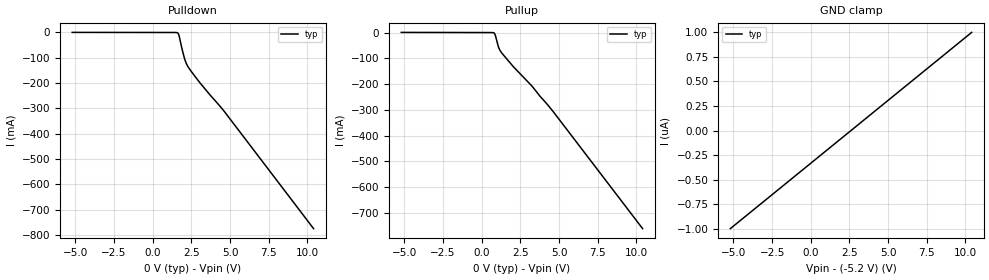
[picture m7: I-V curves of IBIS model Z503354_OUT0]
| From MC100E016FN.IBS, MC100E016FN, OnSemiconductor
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| (C) COPYRIGHT 1993-2000
| MENTOR GRAPHICS CORPORATION
| ICX STANDARD LIBRARY, ICX PROJECT MODELING,
| ICX CUSTOM MODELING, ICX VENDOR MODEL
| ALL RIGHTS RESERVED.
| THE FOLLOWING ARE TRADEMARKS OR SERVICE MARKS OF
| MENTOR GRAPHICS CORPORATION:ICX (R), ICX STANDARD
| LIBRARY(R), ICX PROJECT MODELING(R), ICX CUSTOM
| MODELING(R), qualityIBIS(TM), MODELVIEWER(TM),
| AND MODELEDITOR(TM)
| ALL COPIES OF SOFTWARE, INCLUDING BUT NOT LIMITED TO
| ANY MODIFICATIONS, ENHANCEMENTS OR DERIVATIVE WORKS,
| MUST CONTAIN ALL MENTOR GRAPHICS CORPORATION'S
| NOTICES AND LEGENDS, INCLUDING THOSE EMBEDDED IN
| SOFTWARE AND THOSE AFFIXED TO SOFTWARE MEDIUM
| AND CONTAINER, AS RECEIVED FROM MENTOR GRAPHICS
| CORPORATION.
| Model Application Version 1.89 2/18/99.
[Model] Z503354_OUT0
Model_type Output_ECL
Vref=-2.000V
Rref=50.00ohms
Cref=0.000F
Vmeas=-1.320V
C_comp 8.000pF NA NA
| variable typ   min   max
[Voltage Range] -5.200V NA NA
[POWER Clamp Reference] 0.000V NA NA
[Pullup Reference] 0.000V NA NA
[Pulldown Reference] 0.000V NA NA
[GND Clamp Reference] -5.200V NA NA
[GND Clamp]
-5.2V     -1uA       NA         NA
10.4V     1uA        NA         NA
[Pulldown]
-5.2V     376.7uA    NA         NA
1.623V    -2.215mA   NA         NA
1.709V    -13.33mA   NA         NA
1.891V    -63.75mA   NA         NA
2.066V    -104.8mA   NA         NA
2.256V    -132.6mA   NA         NA
2.438V    -149.3mA   NA         NA
3.027V    -196.6mA   NA         NA
4.604V    -309.8mA   NA         NA
10.4V     -774.6mA   NA         NA
[Pullup]
-5.2V     591.5uA    NA         NA
804.9mV   -2.099mA   NA         NA
890.1mV   -12.59mA   NA         NA
1.065V    -53.08mA   NA         NA
1.119V    -61.78mA   NA         NA
1.299V    -79.75mA   NA         NA
2.037V    -132.1mA   NA         NA
3.257V    -208.5mA   NA         NA
4.608V    -306.2mA   NA         NA
10.4V     -761.7mA   NA         NA
[POWER Clamp]
-5.2V     0A         NA         NA
10.4V     0A         NA         NA
[Ramp]
| variable typ min max
dV/dt_r 461.8m/349.9p NA NA
dV/dt_f 461.8m/212.8p NA NA
R_load = 500.0Ohms
